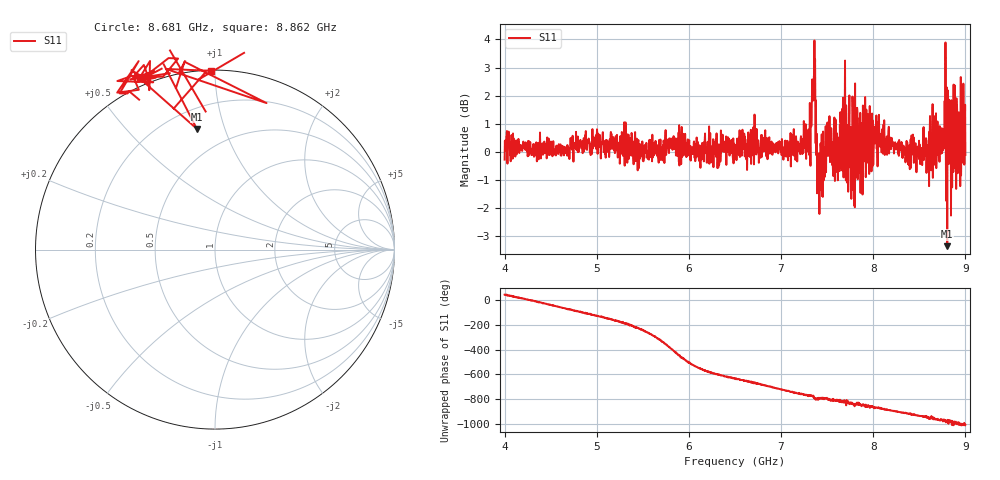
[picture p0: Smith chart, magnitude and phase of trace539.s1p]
! Created with skrf 1.8.0 (http://scikit-rf.org).
# Hz S RI R 50.0
!freq ReS11 ImS11
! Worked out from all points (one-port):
!   1601 points, 4 GHz to 9 GHz, reference 50 ohm
!   lowest |S11| = -3.3 dB at 8.803 GHz (marker M1), VSWR 5.26, Z = 16.1 + j40.4 ohm
!   |S11| at or under -10 dB: nowhere
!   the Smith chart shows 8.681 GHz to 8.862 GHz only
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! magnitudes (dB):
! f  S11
! 4 GHz  -0.3
! 4.625 GHz  0.0
! 5.25 GHz  -0.4
! 5.875 GHz  -0.1
! 6.5 GHz  -0.2
! 7.125 GHz  0.3
! 7.294 GHz  0.0
! 7.347 GHz  2.2
! 7.362 GHz  4.0
! 7.397 GHz  -0.5
! 7.412 GHz  -0.5
! 7.519 GHz  0.4
! 7.609 GHz  -0.5
! 7.669 GHz  0.9
! 7.75 GHz  -0.3
! 7.775 GHz  2.0
! 7.828 GHz  1.4
! 7.981 GHz  -0.7
! 8.038 GHz  0.1
! 8.375 GHz  -0.1
! 8.603 GHz  0.4
! 8.656 GHz  1.3
! 8.728 GHz  0.1
! 8.803 GHz  -3.3
! 8.875 GHz  0.3
! 8.888 GHz  1.1
! 8.972 GHz  0.7
! 9 GHz  -0.1
